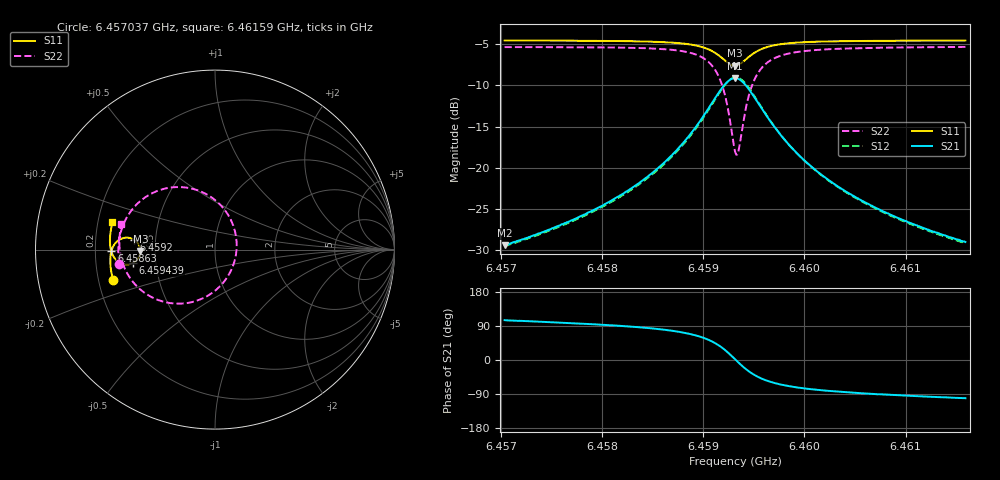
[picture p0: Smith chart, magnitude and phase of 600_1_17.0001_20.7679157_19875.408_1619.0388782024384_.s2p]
#  HZ  S  RI  R  50.00
! Rohde & Schwarz Vector Network Analyzer
! Rohde-Schwarz,ZNB20-2Port,1311601062101988,3.16
! Created: UTC 3/20/2024, 11:18:59 PM
! freq[Hz]  re:S11  im:S11  re:S21  im:S21  re:S12  im:S12  re:S22  im:S22
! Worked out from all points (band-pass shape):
!   401 points, 6.457037 GHz to 6.46159 GHz, reference 50 ohm
!   highest |S21| = -9.12 dB at 6.459313 GHz (marker M1); lowest = -29.4 dB at 6.457037 GHz (marker M2)
!   |S21| within 3 dB of the highest: 6.459086 GHz to 6.459542 GHz (455.5 kHz wide, 0.00705 % of centre)
!   lowest |S11| = -7.6 dB at 6.459313 GHz (marker M3), VSWR 2.43, Z = 20.6 - j0.405 ohm
!   |S11| at or under -10 dB: nowhere
!   |S22| runs from -18.4 to -5.3 dB; largest |S21 - S12| = 0.014
!   S11 on the Smith chart (normalised r, x): 6.457037 GHz: 0.26, -0.13; 6.45863 GHz: 0.27, -0.01; 6.4592 GHz: 0.38, +0.05; 6.459439 GHz: 0.37, -0.07; 6.46159 GHz: 0.26, +0.12
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6.4570367e9  -0.5679 -0.1676  -0.00883 0.0328  -0.007 0.0328  -0.534 -0.0793
6.4577994e9  -0.5813 -0.1006  -0.00536 0.0511  -0.00267 0.0504  -0.5386 0.0107
6.4582092e9  -0.5839 -0.0594  0.000553 0.0699  0.00388 0.0686  -0.5301 0.0762
6.4585621e9  -0.5798 -0.0171  0.0151 0.0998  0.019 0.0969  -0.5034 0.1562
6.4586304e9  -0.5774 -0.00759  0.0205 0.1082  0.0246 0.105  -0.4933 0.1764
6.4588239e9  -0.5646 0.023  0.0475 0.1393  0.0516 0.1342  -0.4424 0.2457
6.4589719e9  -0.5416 0.0491  0.0934 0.17  0.0964 0.1632  -0.3576 0.3104
6.4591085e9  -0.4973 0.0665  0.1814 0.1863  0.1822 0.1789  -0.1964 0.3483
6.4591996e9  -0.4523 0.0559  0.2722 0.1543  0.2725 0.1486  -0.0279 0.2968
6.4592679e9  -0.423 0.0233  0.3333 0.0816  0.3355 0.0763  0.0885 0.165
6.4593134e9  -0.4161 -0.00812  0.3495 0.0127  0.3533 0.00577  0.1208 0.0361
6.4593475e9  -0.42 -0.032  0.3436 -0.0404  0.3476 -0.0496  0.1087 -0.0649
6.4593931e9  -0.4359 -0.0585  0.3145 -0.101  0.3167 -0.1132  0.0496 -0.1797
6.4594386e9  -0.4583 -0.075  0.2715 -0.1424  0.2709 -0.1558  -0.0371 -0.2552
6.4595297e9  -0.5021 -0.0819  0.1854 -0.1735  0.1793 -0.1853  -0.209 -0.301
6.459598e9  -0.5268 -0.0745  0.1366 -0.1714  0.1285 -0.1804  -0.3036 -0.2853
6.4596777e9  -0.5464 -0.0613  0.0967 -0.159  0.0879 -0.1653  -0.3787 -0.2501
6.459837e9  -0.5681 -0.0334  0.0514 -0.1305  0.0436 -0.1333  -0.4596 -0.1766
6.4600761e9  -0.5809 0.00207  0.0222 -0.0985  0.016 -0.099  -0.5078 -0.0929
6.4604176e9  -0.5854 0.043  0.00615 -0.0712  0.00194 -0.0708  -0.5291 -0.0133
6.4608388e9  -0.5835 0.0855  -0.00166 -0.0525  -0.00442 -0.0515  -0.5331 0.0551
6.4615901e9  -0.5712 0.1522  -0.00665 -0.0349  -0.00841 -0.0339  -0.5215 0.1446
